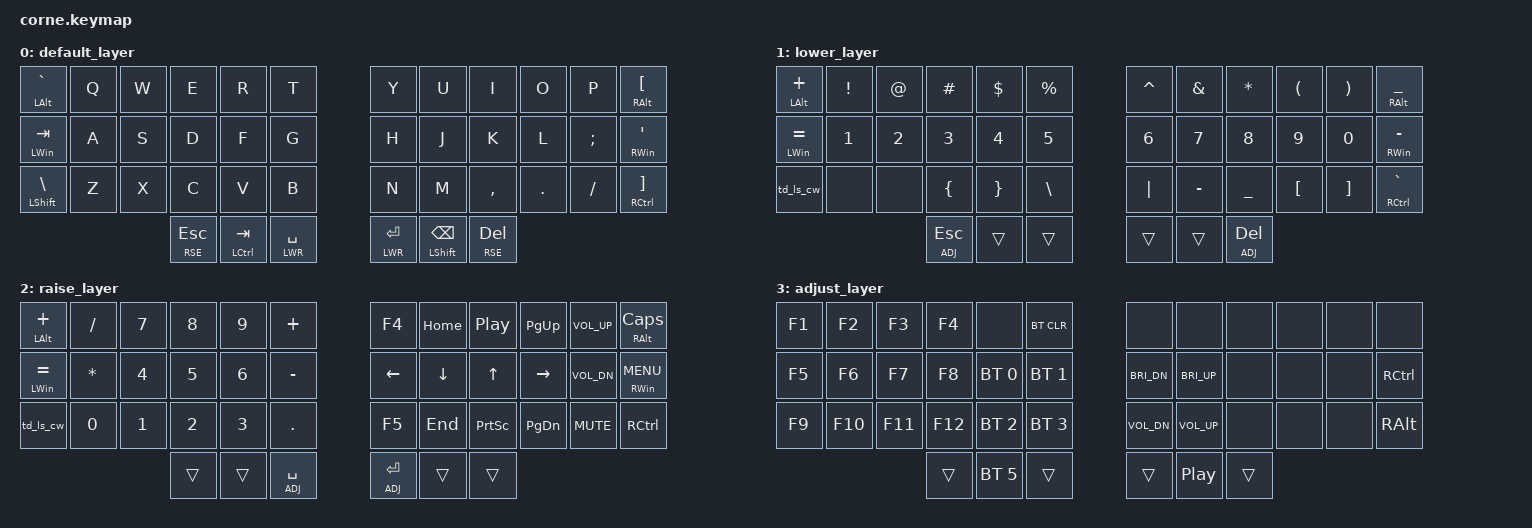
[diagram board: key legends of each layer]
/*
 * Copyright (c) 2020 The ZMK Contributors
 *
 * SPDX-License-Identifier: MIT
 */

#include <behaviors.dtsi>
#include <dt-bindings/zmk/keys.h>
#include <dt-bindings/zmk/bt.h>

#define DEF 0
#define LWR 1
#define RSE 2
#define ADJ 3

&lt {
    quick_tap_ms = <200>;
    require-prior-idle-ms = <125>;
};

&mt {
    quick_tap_ms = <200>;
    require-prior-idle-ms = <125>;
};

/ {
    behaviors {
        td_ls_cw: tap_dance_lshift_caps_word {
            compatible = "zmk,behavior-tap-dance";
            #binding-cells = <0>;
            tapping-term-ms = <200>;
            bindings = <&kp LSHIFT>, <&caps_word>;
        };
    };

    keymap {
        compatible = "zmk,keymap";

        default_layer {
            bindings = <
    &mt LALT GRAVE     &kp Q            &kp W        &kp E         &kp R            &kp T        &kp Y  &kp U  &kp I      &kp O    &kp P     &mt RALT LBKT
    &mt LWIN TAB      &kp A            &kp S        &kp D         &kp F            &kp G        &kp H  &kp J  &kp K      &kp L    &kp SEMI  &mt RWIN SQT
    &mt LSHIFT BSLH   &kp Z            &kp X        &kp C         &kp V            &kp B        &kp N  &kp M  &kp COMMA  &kp DOT  &kp FSLH  &mt RCTRL RBKT
    &lt RSE ESC       &mt LCTRL TAB  &lt LWR SPACE  &lt LWR RET   &mt LSHIFT BSPC  &lt RSE DEL
            >;
        };

        lower_layer {
            bindings = <
    &mt LALT PLUS   &kp EXCL  &kp AT  &kp HASH  &kp DOLLAR  &kp PERCENT  &kp CARET  &kp AMPS   &kp STAR   &kp LPAR  &kp RPAR  &mt RALT UNDER
    &mt LWIN EQUAL  &kp N1    &kp N2  &kp N3    &kp N4      &kp N5       &kp N6     &kp N7     &kp N8     &kp N9    &kp N0    &mt RWIN MINUS
    &td_ls_cw       &none     &none   &kp LBRC  &kp RBRC    &kp BSLH     &kp PIPE   &kp MINUS  &kp UNDER  &kp LBKT  &kp RBKT  &mt RCTRL GRAVE
    &lt ADJ ESC     &trans    &trans  &trans    &trans      &lt ADJ DEL
            >;
        };

        raise_layer {
            bindings = <
    &mt LALT PLUS   &kp FSLH  &kp N7       &kp N8       &kp N9  &kp PLUS   &kp F4    &kp HOME  &kp C_PP   &kp PG_UP  &kp C_VOL_UP  &mt RALT CAPS
    &mt LWIN EQUAL  &kp STAR  &kp N4       &kp N5       &kp N6  &kp MINUS  &kp LEFT  &kp DOWN  &kp UP     &kp RIGHT  &kp C_VOL_DN  &mt RWIN K_MENU
    &td_ls_cw       &kp N0    &kp N1       &kp N2       &kp N3  &kp DOT    &kp F5    &kp END   &kp PSCRN  &kp PG_DN  &kp C_MUTE    &kp RCTRL
    &trans          &trans    &lt ADJ SPACE  &lt ADJ RET  &trans  &trans
            >;
        };

        adjust_layer {
            bindings = <
    &kp F1  &kp F2        &kp F3   &kp F4   &none           &bt BT_CLR    &none         &none         &none  &none  &none  &none
    &kp F5  &kp F6        &kp F7   &kp F8   &bt BT_SEL 0    &bt BT_SEL 1  &kp C_BRI_DN  &kp C_BRI_UP  &none  &none  &none  &kp RCTRL
    &kp F9  &kp F10       &kp F11  &kp F12  &bt BT_SEL 2    &bt BT_SEL 3  &kp C_VOL_DN  &kp C_VOL_UP  &none  &none  &none  &kp RALT
    &trans  &bt BT_SEL 5  &trans  &trans  &kp C_PLAY_PAUSE  &trans
            >;
        };
    };
};
